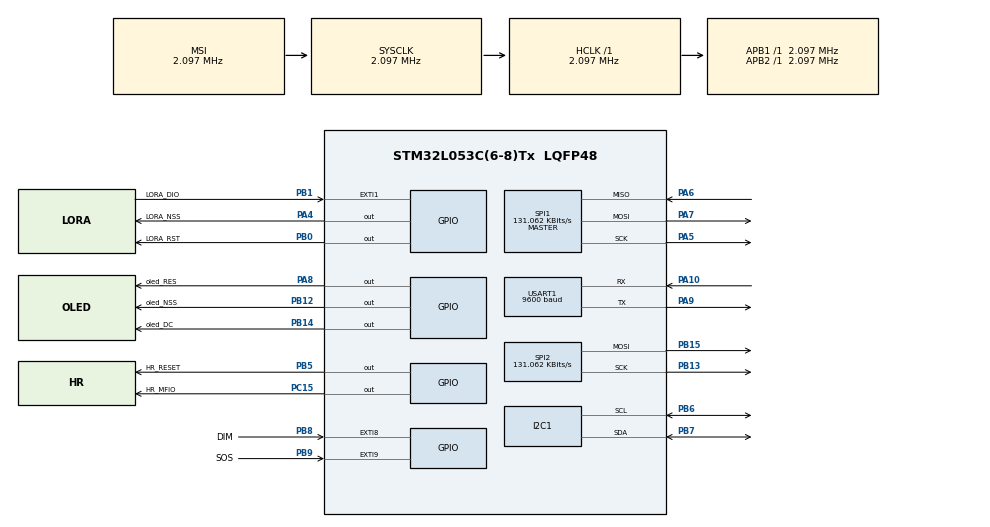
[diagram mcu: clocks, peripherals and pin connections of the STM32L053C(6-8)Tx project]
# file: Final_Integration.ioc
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Dma.Request0=USART1_RX
Dma.USART1_RX.0.Direction=DMA_PERIPH_TO_MEMORY
Dma.USART1_RX.0.Instance=DMA1_Channel3
Dma.USART1_RX.0.MemDataAlignment=DMA_MDATAALIGN_BYTE
Dma.USART1_RX.0.MemInc=DMA_MINC_ENABLE
Dma.USART1_RX.0.Mode=DMA_NORMAL
Dma.USART1_RX.0.PeriphDataAlignment=DMA_PDATAALIGN_BYTE
Dma.USART1_RX.0.PeriphInc=DMA_PINC_DISABLE
Dma.USART1_RX.0.Priority=DMA_PRIORITY_LOW
I2C1.I2C_Fall_Time=0
I2C1.I2C_Rise_Time=0
Mcu.Family=STM32L0
Mcu.Name=STM32L053C(6-8)Tx
Mcu.Package=LQFP48
NVIC.DMA1_Channel2_3_IRQn=true\:0\:0\:false\:false\:true\:false\:true
NVIC.EXTI0_1_IRQn=true\:0\:0\:false\:false\:true\:true\:true
NVIC.EXTI4_15_IRQn=true\:0\:0\:false\:false\:true\:true\:true
NVIC.TIM2_IRQn=true\:0\:0\:false\:false\:true\:true\:true
NVIC.USART1_IRQn=true\:0\:0\:false\:false\:true\:true\:true
PA10.GPIO_PuPd=GPIO_NOPULL
PA10.Mode=Asynchronous
PA10.Signal=USART1_RX
PA4.GPIO_Label=LORA_NSS
PA4.PinState=GPIO_PIN_SET
PA4.Signal=GPIO_Output
PA5.Mode=Full_Duplex_Master
PA5.Signal=SPI1_SCK
PA6.Mode=Full_Duplex_Master
PA6.Signal=SPI1_MISO
PA7.Mode=Full_Duplex_Master
PA7.Signal=SPI1_MOSI
PA8.GPIO_Label=oled_RES
PA8.Signal=GPIO_Output
PA9.GPIO_PuPd=GPIO_NOPULL
PA9.Mode=Asynchronous
PA9.Signal=USART1_TX
PB0.GPIO_Label=LORA_RST
PB0.PinState=GPIO_PIN_SET
PB0.Signal=GPIO_Output
PB1.GPIO_Label=LORA_DIO
PB1.Signal=GPXTI1
PB12.GPIO_Label=oled_NSS
PB12.Signal=GPIO_Output
PB13.Mode=TX_Only_Simplex_Unidirect_Master
PB13.Signal=SPI2_SCK
PB14.GPIO_Label=oled_DC
PB14.Signal=GPIO_Output
PB15.Mode=TX_Only_Simplex_Unidirect_Master
PB15.Signal=SPI2_MOSI
PB5.GPIO_Label=HR_RESET
PB5.PinState=GPIO_PIN_SET
PB5.Signal=GPIO_Output
PB6.Mode=I2C
PB6.Signal=I2C1_SCL
PB7.Mode=I2C
PB7.Signal=I2C1_SDA
PB8.GPIO_Label=DIM
PB8.GPIO_ModeDefaultEXTI=GPIO_MODE_IT_FALLING
PB8.Signal=GPXTI8
PB9.GPIO_Label=SOS
PB9.GPIO_ModeDefaultEXTI=GPIO_MODE_IT_FALLING
PB9.Signal=GPXTI9
PC15-OSC32_OUT.GPIO_Label=HR_MFIO
PC15-OSC32_OUT.Signal=GPIO_Output
ProjectManager.HeapSize=0x200
ProjectManager.StackSize=0x400
ProjectManager.TargetToolchain=TrueSTUDIO
RCC.AHBFreq_Value=2097000
RCC.APB1Freq_Value=2097000
RCC.APB1TimFreq_Value=2097000
RCC.APB2Freq_Value=2097000
RCC.APB2TimFreq_Value=2097000
RCC.HCLKFreq_Value=2097000
RCC.HSE_VALUE=8000000
RCC.HSI16_VALUE=16000000
RCC.HSI48_VALUE=48000000
RCC.HSI_VALUE=16000000
RCC.LSE_VALUE=32768
RCC.MSI_VALUE=2097000
RCC.SYSCLKFreq_VALUE=2097000
RCC.VCOOutputFreq_Value=48000000
SPI1.BaudRatePrescaler=SPI_BAUDRATEPRESCALER_16
SPI1.CalculateBaudRate=131.062 KBits/s
SPI1.Direction=SPI_DIRECTION_2LINES
SPI1.Mode=SPI_MODE_MASTER
SPI1.VirtualType=VM_MASTER
SPI2.BaudRatePrescaler=SPI_BAUDRATEPRESCALER_16
SPI2.CalculateBaudRate=131.062 KBits/s
SPI2.Direction=SPI_DIRECTION_2LINES
SPI2.Mode=SPI_MODE_MASTER
SPI2.VirtualType=VM_MASTER
TIM2.Period=1500
USART1.BaudRate=9600
USART1.VirtualMode-Asynchronous=VM_ASYNC
VP_TIM2_VS_ClockSourceINT.Mode=Internal
board=custom

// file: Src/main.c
/* USER CODE BEGIN Header */
/**
  ******************************************************************************
  * @file           : main.c
  * @brief          : Main program body
  ******************************************************************************
  * @attention
  *
  * <h2><center>&copy; Copyright (c) 2020 STMicroelectronics.
  * All rights reserved.</center></h2>
  *
  * This software component is licensed by ST under BSD 3-Clause license,
  * the "License"; You may not use this file except in compliance with the
  * License. You may obtain a copy of the License at:
  *                        opensource.org/licenses/BSD-3-Clause
  *
  ******************************************************************************
  */
/* USER CODE END Header */

#include "main.h"

/* USER CODE BEGIN Includes */
#include <stdio.h>
#include <string.h>

#include "lora.h"
#include "oled.h"
#include "hr.h"
#include "gps.h"
/* USER CODE END Includes */

I2C_HandleTypeDef hi2c1;

SPI_HandleTypeDef hspi1;
SPI_HandleTypeDef hspi2;

TIM_HandleTypeDef htim2;

UART_HandleTypeDef huart1;
DMA_HandleTypeDef hdma_usart1_rx;

void SystemClock_Config(void);
static void MX_GPIO_Init(void);
static void MX_DMA_Init(void);
static void MX_SPI1_Init(void);
static void MX_USART1_UART_Init(void);
static void MX_SPI2_Init(void);
static void MX_I2C1_Init(void);
static void MX_TIM2_Init(void);

/* USER CODE BEGIN 0 */
volatile uint8_t data[70] = {0};
uint8_t tempdata[70] = {0};

uint16_t heartrate  = 0;
uint8_t  HR_conf    = 0;
uint16_t SPO2  		= 0;
uint8_t  alg_state  = 0;
uint8_t  alg_status = 0;

char HR_Valid[4];
char SPO2_Valid[4];

char GGA_MESSAGE[50];
char latitude[10];
char longitude[11];
char longDir[2];
char latDir[2];
char fix[2];
char sendMeasurements[27];

uint8_t test[] = "NO GPS FIX";
uint8_t GPS_FLAG = 0;
uint8_t LORA_FLAG = 0;
uint8_t DIM_FLAG = 0;
uint8_t HR_FLAG = 0;
uint8_t SOS_FLAG = 0;

uint8_t contrastLow[]={0x81, 0x0F};
uint8_t contrastHigh[]={0x81, 0xFF};

uint8_t isDim = 0;

uint8_t receive_data[22] = "0";

extern char user[];
extern uint8_t isSelfSetup;
extern uint8_t isOtherSetup;
extern char hr[];
extern uint8_t MAX_BUFF;

uint8_t timer_flag = 0;
uint8_t sos[] = "s,1,\r\n";

uint8_t GPS_READY = 0; //flag for when valid gps has been received and is ready to be sent to the screen
uint8_t HR_READY = 0; //flag for when valid hr has been received and is ready to be sent to the screen
uint8_t LORA_RECEIVED = 0;
uint8_t NAME_RECEIVED = 0;
uint8_t FIRST = 1;

/* USER CODE END 0 */

int main(void)
{

  /* MCU Configuration--------------------------------------------------------*/

  /* Reset of all peripherals, Initializes the Flash interface and the Systick. */
  HAL_Init();

  /* Configure the system clock */
  SystemClock_Config();

  /* Initialize all configured peripherals */
  MX_GPIO_Init();
  MX_DMA_Init();
  MX_SPI1_Init();
  MX_USART1_UART_Init();
  MX_SPI2_Init();
  MX_I2C1_Init();
  MX_TIM2_Init();
  /* USER CODE BEGIN 2 */

  //INITIALIZE MODULES
  turnOnScreen(); //screen"4027.5184"
  GPS_INIT(); //gps
  LORA_INIT(); //lora
  HR_APP_MODE(); //call function to put module in application mode
  HR_INIT();
  HR_MFIO_SET();
  shut30101();

  /*
  if(HAL_UART_Receive_DMA(&huart1, tempdata, sizeof(tempdata)) != HAL_OK)
  {
      Error_Handler();
  }
  */
  if ((&huart1)->RxState == HAL_UART_STATE_READY)
  {
	  HAL_UART_Receive_DMA(&huart1, tempdata, sizeof(tempdata)/sizeof(tempdata[0]));
  }
  /* USER CODE END 2 */

  /* Infinite loop */
  /* USER CODE BEGIN WHILE */
  while (1)
  {
	  if ((&huart1)->RxState == HAL_UART_STATE_READY)
	  {
		  HAL_UART_Receive_DMA(&huart1, tempdata, sizeof(tempdata)/sizeof(tempdata[0]));
	  }

	  if (LORA_RECEIVED || (NAME_RECEIVED && FIRST))
	  {
		  if(GPS_FLAG && (!GPS_READY))
		  {
			  uint8_t found = 0;
			  uint8_t commaCnt = 0;
			  uint8_t j = 0;

			  if (tempdata[0] != '0') //if there is a fix
			  {
				  for(int i = 0; i < ((sizeof(tempdata) - 1)); i++)
				  {
					  if (commaCnt < 8)
					  {
						  if ((tempdata[i] == '$') && (tempdata[i+1] == 'G'))
						  {
							  found = 1;
						  }
						  if (found)
						  {
							  data[j] = tempdata[i];
							  j++;
							  if (tempdata[i] == ',')
							  {
								  commaCnt++;
							  }
						  }
					  }
					  else
						  break;
				  }

				  if (parseData())
				  {
					  GPS_READY = 1;
					  NAME_RECEIVED = 0;
					  LORA_RECEIVED = 0;
					  FIRST = 0;

					  if (!isSelfSetup)
					  {
						  setupScreen();
						  isSelfSetup = 1;
					  }
					  displayActiveHR();
					  HAL_Delay(500);

					  if (!SOS_FLAG)
					  {
						  start30101();
					  }
				  }
			  }
			  GPS_FLAG = 0;
		  }
	  }
	  else if (GPS_READY && HR_READY) //send to screen
	  {
		  //NVIC_DisableIRQ(USART1_IRQn);
		  packet_create(); //send packet to BST
		  GPS_READY = 0;
		  HR_READY = 0;
		  //NVIC_EnableIRQ(USART1_IRQn);
	  }
	  else if(LORA_FLAG)
	  {
		  if (!isSelfSetup)
		  {
			  setupScreen();
			  isSelfSetup = 1;
		  }
		  receiveData();
		  LORA_FLAG = 0;
	  }
	  else if(DIM_FLAG)
	  {
		  if(isDim)
		  {
			  sendCMD(contrastHigh, (uint16_t)sizeof(contrastHigh));
			  isDim = 0;
		  }
		  else
		  {
			  sendCMD(contrastLow, (uint16_t)sizeof(contrastLow));
			  isDim = 1;
		  }
		  DIM_FLAG = 0;
	  }

    /* USER CODE END WHILE */

  }
}

void SystemClock_Config(void)
{
  RCC_OscInitTypeDef RCC_OscInitStruct = {0};
  RCC_ClkInitTypeDef RCC_ClkInitStruct = {0};
  RCC_PeriphCLKInitTypeDef PeriphClkInit = {0};

  /** Configure the main internal regulator output voltage
  */
  __HAL_PWR_VOLTAGESCALING_CONFIG(PWR_REGULATOR_VOLTAGE_SCALE1);
  /** Initializes the CPU, AHB and APB busses clocks
  */
  RCC_OscInitStruct.OscillatorType = RCC_OSCILLATORTYPE_MSI;
  RCC_OscInitStruct.MSIState = RCC_MSI_ON;
  RCC_OscInitStruct.MSICalibrationValue = 0;
  RCC_OscInitStruct.MSIClockRange = RCC_MSIRANGE_5;
  RCC_OscInitStruct.PLL.PLLState = RCC_PLL_NONE;
  if (HAL_RCC_OscConfig(&RCC_OscInitStruct) != HAL_OK)
  {
    Error_Handler();
  }
  /** Initializes the CPU, AHB and APB busses clocks
  */
  RCC_ClkInitStruct.ClockType = RCC_CLOCKTYPE_HCLK|RCC_CLOCKTYPE_SYSCLK
                              |RCC_CLOCKTYPE_PCLK1|RCC_CLOCKTYPE_PCLK2;
  RCC_ClkInitStruct.SYSCLKSource = RCC_SYSCLKSOURCE_MSI;
  RCC_ClkInitStruct.AHBCLKDivider = RCC_SYSCLK_DIV1;
  RCC_ClkInitStruct.APB1CLKDivider = RCC_HCLK_DIV1;
  RCC_ClkInitStruct.APB2CLKDivider = RCC_HCLK_DIV1;

  if (HAL_RCC_ClockConfig(&RCC_ClkInitStruct, FLASH_LATENCY_0) != HAL_OK)
  {
    Error_Handler();
  }
  PeriphClkInit.PeriphClockSelection = RCC_PERIPHCLK_USART1|RCC_PERIPHCLK_I2C1;
  PeriphClkInit.Usart1ClockSelection = RCC_USART1CLKSOURCE_PCLK2;
  PeriphClkInit.I2c1ClockSelection = RCC_I2C1CLKSOURCE_PCLK1;
  if (HAL_RCCEx_PeriphCLKConfig(&PeriphClkInit) != HAL_OK)
  {
    Error_Handler();
  }
}

static void MX_I2C1_Init(void)
{

  hi2c1.Instance = I2C1;
  hi2c1.Init.Timing = 0x00000708;
  hi2c1.Init.OwnAddress1 = 0;
  hi2c1.Init.AddressingMode = I2C_ADDRESSINGMODE_7BIT;
  hi2c1.Init.DualAddressMode = I2C_DUALADDRESS_DISABLE;
  hi2c1.Init.OwnAddress2 = 0;
  hi2c1.Init.OwnAddress2Masks = I2C_OA2_NOMASK;
  hi2c1.Init.GeneralCallMode = I2C_GENERALCALL_DISABLE;
  hi2c1.Init.NoStretchMode = I2C_NOSTRETCH_DISABLE;
  if (HAL_I2C_Init(&hi2c1) != HAL_OK)
  {
    Error_Handler();
  }
  /** Configure Analogue filter
  */
  if (HAL_I2CEx_ConfigAnalogFilter(&hi2c1, I2C_ANALOGFILTER_ENABLE) != HAL_OK)
  {
    Error_Handler();
  }
  /** Configure Digital filter
  */
  if (HAL_I2CEx_ConfigDigitalFilter(&hi2c1, 0) != HAL_OK)
  {
    Error_Handler();
  }

}

static void MX_SPI1_Init(void)
{

  /* SPI1 parameter configuration*/
  hspi1.Instance = SPI1;
  hspi1.Init.Mode = SPI_MODE_MASTER;
  hspi1.Init.Direction = SPI_DIRECTION_2LINES;
  hspi1.Init.DataSize = SPI_DATASIZE_8BIT;
  hspi1.Init.CLKPolarity = SPI_POLARITY_LOW;
  hspi1.Init.CLKPhase = SPI_PHASE_1EDGE;
  hspi1.Init.NSS = SPI_NSS_SOFT;
  hspi1.Init.BaudRatePrescaler = SPI_BAUDRATEPRESCALER_16;
  hspi1.Init.FirstBit = SPI_FIRSTBIT_MSB;
  hspi1.Init.TIMode = SPI_TIMODE_DISABLE;
  hspi1.Init.CRCCalculation = SPI_CRCCALCULATION_DISABLE;
  hspi1.Init.CRCPolynomial = 7;
  if (HAL_SPI_Init(&hspi1) != HAL_OK)
  {
    Error_Handler();
  }

}

static void MX_SPI2_Init(void)
{

  /* SPI2 parameter configuration*/
  hspi2.Instance = SPI2;
  hspi2.Init.Mode = SPI_MODE_MASTER;
  hspi2.Init.Direction = SPI_DIRECTION_2LINES;
  hspi2.Init.DataSize = SPI_DATASIZE_8BIT;
  hspi2.Init.CLKPolarity = SPI_POLARITY_LOW;
  hspi2.Init.CLKPhase = SPI_PHASE_1EDGE;
  hspi2.Init.NSS = SPI_NSS_SOFT;
  hspi2.Init.BaudRatePrescaler = SPI_BAUDRATEPRESCALER_16;
  hspi2.Init.FirstBit = SPI_FIRSTBIT_MSB;
  hspi2.Init.TIMode = SPI_TIMODE_DISABLE;
  hspi2.Init.CRCCalculation = SPI_CRCCALCULATION_DISABLE;
  hspi2.Init.CRCPolynomial = 7;
  if (HAL_SPI_Init(&hspi2) != HAL_OK)
  {
    Error_Handler();
  }

}

static void MX_TIM2_Init(void)
{

  TIM_ClockConfigTypeDef sClockSourceConfig = {0};
  TIM_MasterConfigTypeDef sMasterConfig = {0};

  htim2.Instance = TIM2;
  htim2.Init.Prescaler = 200000;
  htim2.Init.CounterMode = TIM_COUNTERMODE_UP;
  htim2.Init.Period = 1500;
  htim2.Init.ClockDivision = TIM_CLOCKDIVISION_DIV1;
  htim2.Init.AutoReloadPreload = TIM_AUTORELOAD_PRELOAD_DISABLE;
  if (HAL_TIM_Base_Init(&htim2) != HAL_OK)
  {
    Error_Handler();
  }
  sClockSourceConfig.ClockSource = TIM_CLOCKSOURCE_INTERNAL;
  if (HAL_TIM_ConfigClockSource(&htim2, &sClockSourceConfig) != HAL_OK)
  {
    Error_Handler();
  }
  sMasterConfig.MasterOutputTrigger = TIM_TRGO_RESET;
  sMasterConfig.MasterSlaveMode = TIM_MASTERSLAVEMODE_DISABLE;
  if (HAL_TIMEx_MasterConfigSynchronization(&htim2, &sMasterConfig) != HAL_OK)
  {
    Error_Handler();
  }

}

static void MX_USART1_UART_Init(void)
{

  huart1.Instance = USART1;
  huart1.Init.BaudRate = 9600;
  huart1.Init.WordLength = UART_WORDLENGTH_8B;
  huart1.Init.StopBits = UART_STOPBITS_1;
  huart1.Init.Parity = UART_PARITY_NONE;
  huart1.Init.Mode = UART_MODE_TX_RX;
  huart1.Init.HwFlowCtl = UART_HWCONTROL_NONE;
  huart1.Init.OverSampling = UART_OVERSAMPLING_16;
  huart1.Init.OneBitSampling = UART_ONE_BIT_SAMPLE_DISABLE;
  huart1.AdvancedInit.AdvFeatureInit = UART_ADVFEATURE_NO_INIT;
  if (HAL_UART_Init(&huart1) != HAL_OK)
  {
    Error_Handler();
  }
  /* USER CODE BEGIN USART1_Init 2 */
   HAL_NVIC_SetPriority(USART1_IRQn, 0, 1);
   HAL_NVIC_EnableIRQ(USART1_IRQn);
  /* USER CODE END USART1_Init 2 */

}

static void MX_DMA_Init(void)
{

  /* DMA controller clock enable */
  __HAL_RCC_DMA1_CLK_ENABLE();

  /* DMA interrupt init */
  /* DMA1_Channel2_3_IRQn interrupt configuration */
  HAL_NVIC_SetPriority(DMA1_Channel2_3_IRQn, 0, 0);
  HAL_NVIC_EnableIRQ(DMA1_Channel2_3_IRQn);

}

static void MX_GPIO_Init(void)
{
  GPIO_InitTypeDef GPIO_InitStruct = {0};

  /* GPIO Ports Clock Enable */
  __HAL_RCC_GPIOC_CLK_ENABLE();
  __HAL_RCC_GPIOA_CLK_ENABLE();
  __HAL_RCC_GPIOB_CLK_ENABLE();

  /*Configure GPIO pin Output Level */
  HAL_GPIO_WritePin(HR_MFIO_GPIO_Port, HR_MFIO_Pin, GPIO_PIN_RESET);

  /*Configure GPIO pin Output Level */
  HAL_GPIO_WritePin(LORA_NSS_GPIO_Port, LORA_NSS_Pin, GPIO_PIN_SET);

  /*Configure GPIO pin Output Level */
  HAL_GPIO_WritePin(GPIOB, LORA_RST_Pin|HR_RESET_Pin, GPIO_PIN_SET);

  /*Configure GPIO pin Output Level */
  HAL_GPIO_WritePin(GPIOB, oled_NSS_Pin|oled_DC_Pin, GPIO_PIN_RESET);

  /*Configure GPIO pin Output Level */
  HAL_GPIO_WritePin(oled_RES_GPIO_Port, oled_RES_Pin, GPIO_PIN_RESET);

  /*Configure GPIO pin : HR_MFIO_Pin */
  GPIO_InitStruct.Pin = HR_MFIO_Pin;
  GPIO_InitStruct.Mode = GPIO_MODE_OUTPUT_PP;
  GPIO_InitStruct.Pull = GPIO_NOPULL;
  GPIO_InitStruct.Speed = GPIO_SPEED_FREQ_LOW;
  HAL_GPIO_Init(HR_MFIO_GPIO_Port, &GPIO_InitStruct);

  /*Configure GPIO pins : LORA_NSS_Pin oled_RES_Pin */
  GPIO_InitStruct.Pin = LORA_NSS_Pin|oled_RES_Pin;
  GPIO_InitStruct.Mode = GPIO_MODE_OUTPUT_PP;
  GPIO_InitStruct.Pull = GPIO_NOPULL;
  GPIO_InitStruct.Speed = GPIO_SPEED_FREQ_LOW;
  HAL_GPIO_Init(GPIOA, &GPIO_InitStruct);

  /*Configure GPIO pins : LORA_RST_Pin oled_NSS_Pin oled_DC_Pin HR_RESET_Pin */
  GPIO_InitStruct.Pin = LORA_RST_Pin|oled_NSS_Pin|oled_DC_Pin|HR_RESET_Pin;
  GPIO_InitStruct.Mode = GPIO_MODE_OUTPUT_PP;
  GPIO_InitStruct.Pull = GPIO_NOPULL;
  GPIO_InitStruct.Speed = GPIO_SPEED_FREQ_LOW;
  HAL_GPIO_Init(GPIOB, &GPIO_InitStruct);

  /*Configure GPIO pin : LORA_DIO_Pin */
  GPIO_InitStruct.Pin = LORA_DIO_Pin;
  GPIO_InitStruct.Mode = GPIO_MODE_IT_RISING;
  GPIO_InitStruct.Pull = GPIO_NOPULL;
  HAL_GPIO_Init(LORA_DIO_GPIO_Port, &GPIO_InitStruct);

  /*Configure GPIO pins : DIM_Pin SOS_Pin */
  GPIO_InitStruct.Pin = DIM_Pin|SOS_Pin;
  GPIO_InitStruct.Mode = GPIO_MODE_IT_FALLING;
  GPIO_InitStruct.Pull = GPIO_NOPULL;
  HAL_GPIO_Init(GPIOB, &GPIO_InitStruct);

  /* EXTI interrupt init*/
  HAL_NVIC_SetPriority(EXTI0_1_IRQn, 0, 0);
  HAL_NVIC_EnableIRQ(EXTI0_1_IRQn);

  HAL_NVIC_SetPriority(EXTI4_15_IRQn, 0, 0);
  HAL_NVIC_EnableIRQ(EXTI4_15_IRQn);

}

/* USER CODE BEGIN 4 */

void HAL_UART_RxCpltCallback(UART_HandleTypeDef *huart)
{
	NVIC_DisableIRQ(EXTI4_15_IRQn);
	NVIC_DisableIRQ(EXTI0_1_IRQn);
	NVIC_DisableIRQ(USART1_IRQn);
	NVIC_DisableIRQ(DMA1_Channel2_3_IRQn);

	GPS_FLAG = 1; //GPS
	__HAL_UART_FLUSH_DRREGISTER(&huart1); // Clear the buffer to prevent overrun

	NVIC_EnableIRQ(EXTI4_15_IRQn);
	NVIC_EnableIRQ(EXTI0_1_IRQn);
	NVIC_EnableIRQ(USART1_IRQn);
	NVIC_EnableIRQ(DMA1_Channel2_3_IRQn);
}

void HAL_GPIO_EXTI_Callback(uint16_t GPIO_Pin)
{
	NVIC_DisableIRQ(EXTI4_15_IRQn);
	NVIC_DisableIRQ(EXTI0_1_IRQn);
	NVIC_DisableIRQ(USART1_IRQn);
	NVIC_DisableIRQ(DMA1_Channel2_3_IRQn);

	if(GPIO_Pin == HR_MFIO_Pin) //HR
	{
		uint8_t received_data[MAX_BUFF];
		HR_READ(received_data);

		if(!HR_FLAG)
		{
			NVIC_EnableIRQ(EXTI4_15_IRQn);
			return;
		}
		else
		{
			HR_FLAG = 0;
			HR_READY = 1;
			//testScreen();
			if (!isSelfSetup)
			{
				setupScreen();
				isSelfSetup = 1;
			}
			user1Info(heartrate, SPO2);
			removeActiveHR();
		}
	}
	else if (GPIO_Pin == GPIO_PIN_1) //LORA RECEIVE
	{
		LORA_FLAG = 1;
	}
	else if (GPIO_Pin == DIM_Pin) //DIM SCREEN
	{
		DIM_FLAG = 1;
	}
	else if (GPIO_Pin == SOS_Pin)
	{
		HAL_TIM_Base_Start_IT(&htim2);
		SOS_FLAG = 1;
	}

	NVIC_EnableIRQ(EXTI4_15_IRQn);
	NVIC_EnableIRQ(EXTI0_1_IRQn);
	NVIC_EnableIRQ(USART1_IRQn);
	NVIC_EnableIRQ(DMA1_Channel2_3_IRQn);
}

void HAL_TIM_PeriodElapsedCallback(TIM_HandleTypeDef *htim2) {
	NVIC_DisableIRQ(EXTI4_15_IRQn);
	NVIC_DisableIRQ(EXTI0_1_IRQn);
	NVIC_DisableIRQ(USART1_IRQn);
	NVIC_DisableIRQ(DMA1_Channel2_3_IRQn);

	if(SOS_FLAG == 1) {
		HAL_TIM_Base_Stop_IT(htim2);
		clearSOS();
		SOS_FLAG = 0;
	}
	if(timer_flag == 1) {
		__HAL_TIM_CLEAR_IT(htim2 ,TIM_IT_UPDATE);
		timer_flag = 0;
		if(!HAL_GPIO_ReadPin(GPIOB, SOS_Pin)) {
			sendPacket(sos, sizeof(sos));
			sendSOS();
			SOS_FLAG = 1;
		}
	} else {
		timer_flag = 1;
	}

	//NVIC_EnableIRQ(EXTI4_15_IRQn);
	NVIC_EnableIRQ(EXTI4_15_IRQn);
	NVIC_EnableIRQ(EXTI0_1_IRQn);
	NVIC_EnableIRQ(USART1_IRQn);
	NVIC_EnableIRQ(DMA1_Channel2_3_IRQn);
}

/* USER CODE END 4 */

void Error_Handler(void)
{
}

/************************ (C) COPYRIGHT STMicroelectronics *****END OF FILE****/
